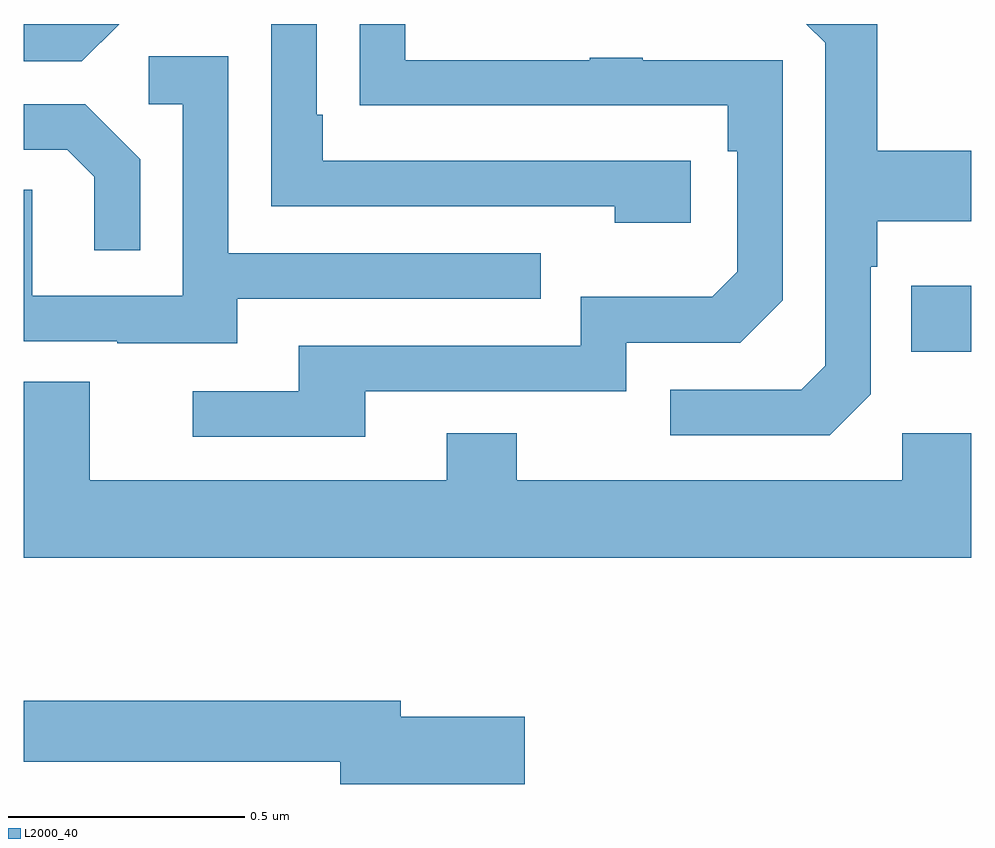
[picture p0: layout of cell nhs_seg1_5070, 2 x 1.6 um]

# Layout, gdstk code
import gdstk
lib = gdstk.Library(unit=1e-6, precision=1e-09)
def R(c, l, rs):  # rectangles x0, y0, x1, y1
    for r in rs: c.add(gdstk.rectangle(r[:2], r[2:], *l))
def P(c, l, *ps):  # polygons
    for p in ps: c.add(gdstk.Polygon(p, *l))
L2000_40 = (2000, 40)

nhs_seg1_5070 = lib.new_cell('nhs_seg1_5070')
R(nhs_seg1_5070, L2000_40, [(175.873,545.507,176,545.647)])
P(nhs_seg1_5070, L2000_40, [(175.788,545.418),(175.788,545.687),(175.801,545.687),(175.801,545.783),(176,545.783),(176,545.931),(175.801,545.931),(175.801,546.199),(175.652,546.199),(175.692,546.159),(175.692,545.478),(175.641,545.427),(175.365,545.427),(175.365,545.331),(175.701,545.331)],
  [(174.202,546.199),(174,546.199),(174,546.12),(174.123,546.12)],
  [(175.408,545.91),(174.631,545.91),(174.631,546.007),(174.618,546.007),(174.618,546.199),(174.522,546.199),(174.522,545.814),(175.247,545.814),(175.247,545.78),(175.408,545.78)],
  [(174.721,545.424),(175.272,545.424),(175.272,545.526),(175.512,545.526),(175.602,545.616),(175.602,546.123),(175.307,546.123),(175.307,546.128),(175.195,546.128),(175.195,546.123),(174.805,546.123),(174.805,546.199),(174.709,546.199),(174.709,546.028),(174.811,546.028),(174.811,546.027),(175.486,546.027),(175.486,545.93),(175.506,545.93),(175.506,545.676),(175.453,545.623),(175.176,545.623),(175.176,545.52),(174.581,545.52),(174.581,545.424),(174.357,545.424),(174.357,545.328),(174.721,545.328)],
  [(174.451,545.619),(175.091,545.619),(175.091,545.715),(174.432,545.715),(174.432,546.131),(174.264,546.131),(174.264,546.03),(174.336,546.03),(174.336,545.625),(174.018,545.625),(174.018,545.849),(174,545.849),(174,545.529),(174.197,545.529),(174.197,545.525),(174.451,545.525)],
  [(174.246,545.914),(174.13,546.03),(174,546.03),(174,545.934),(174.092,545.934),(174.149,545.877),(174.149,545.721),(174.246,545.721)],
  [(176,545.335),(175.854,545.335),(175.854,545.236),(175.041,545.236),(175.041,545.335),(174.893,545.335),(174.893,545.236),(174.139,545.236),(174.139,545.444),(174,545.444),(174,545.072),(176,545.072)],
  [(175.057,544.737),(174.796,544.737),(174.796,544.771),(174,544.771),(174,544.642),(174.668,544.642),(174.668,544.595),(175.057,544.595)])

lib.write_gds('nhs_seg1_5070.gds')
